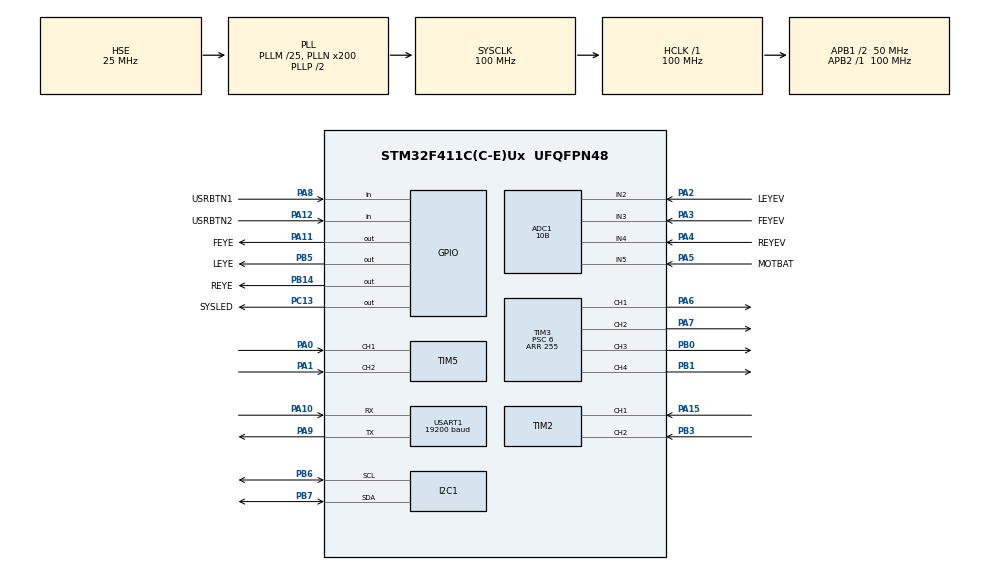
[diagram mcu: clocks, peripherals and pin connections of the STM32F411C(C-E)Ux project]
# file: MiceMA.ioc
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ADC1.Channel-1\#ChannelRegularConversion=ADC_CHANNEL_4
ADC1.NbrOfConversionFlag=1
ADC1.Rank-1\#ChannelRegularConversion=1
ADC1.Resolution=ADC_RESOLUTION_10B
ADC1.SamplingTime-1\#ChannelRegularConversion=ADC_SAMPLETIME_3CYCLES
ADC1.master=1
Mcu.Family=STM32F4
Mcu.Name=STM32F411C(C-E)Ux
Mcu.Package=UFQFPN48
NVIC.PriorityGroup=NVIC_PRIORITYGROUP_4
NVIC.TIM1_BRK_TIM9_IRQn=true\:0\:0\:false\:false\:true\:true\:true\:true
PA0-WKUP.Signal=S_TIM5_CH1
PA1.Signal=S_TIM5_CH2
PA10.Mode=Asynchronous
PA10.Signal=USART1_RX
PA11.GPIO_Label=FEYE
PA11.Signal=GPIO_Output
PA12.GPIO_Label=USRBTN2
PA12.GPIO_PuPd=GPIO_PULLUP
PA12.Signal=GPIO_Input
PA15.Signal=S_TIM2_CH1_ETR
PA2.GPIO_Label=LEYEV
PA2.Signal=ADCx_IN2
PA3.GPIO_Label=FEYEV
PA3.Signal=ADCx_IN3
PA4.GPIO_Label=REYEV
PA4.Signal=ADCx_IN4
PA5.GPIO_Label=MOTBAT
PA5.Signal=ADCx_IN5
PA6.Signal=S_TIM3_CH1
PA7.Signal=S_TIM3_CH2
PA8.GPIO_Label=USRBTN1
PA8.GPIO_PuPd=GPIO_PULLUP
PA8.Signal=GPIO_Input
PA9.Mode=Asynchronous
PA9.Signal=USART1_TX
PB0.Signal=S_TIM3_CH3
PB1.Signal=S_TIM3_CH4
PB14.GPIO_Label=REYE
PB14.Signal=GPIO_Output
PB3.Signal=S_TIM2_CH2
PB5.GPIO_Label=LEYE
PB5.Signal=GPIO_Output
PB6.Mode=I2C
PB6.Signal=I2C1_SCL
PB7.Mode=I2C
PB7.Signal=I2C1_SDA
PC13-ANTI_TAMP.GPIO_Label=SYSLED
PC13-ANTI_TAMP.Signal=GPIO_Output
PH0\ -\ OSC_IN.Mode=HSE-External-Oscillator
PH0\ -\ OSC_IN.Signal=RCC_OSC_IN
PH1\ -\ OSC_OUT.Mode=HSE-External-Oscillator
PH1\ -\ OSC_OUT.Signal=RCC_OSC_OUT
ProjectManager.HeapSize=0x200
ProjectManager.StackSize=0x400
ProjectManager.TargetToolchain=STM32CubeIDE
RCC.48MHZClocksFreq_Value=50000000
RCC.AHBFreq_Value=100000000
RCC.APB1CLKDivider=RCC_HCLK_DIV2
RCC.APB1Freq_Value=50000000
RCC.APB1TimFreq_Value=100000000
RCC.APB2Freq_Value=100000000
RCC.APB2TimFreq_Value=100000000
RCC.CortexFreq_Value=100000000
RCC.HCLKFreq_Value=100000000
RCC.HSE_VALUE=25000000
RCC.HSI_VALUE=16000000
RCC.LSE_VALUE=32768
RCC.PLLM=25
RCC.PLLN=200
RCC.PLLSourceVirtual=RCC_PLLSOURCE_HSE
RCC.SYSCLKFreq_VALUE=100000000
RCC.SYSCLKSource=RCC_SYSCLKSOURCE_PLLCLK
RCC.VCOOutputFreq_Value=200000000
SH.ADCx_IN2.0=ADC1_IN2,IN2
SH.ADCx_IN3.0=ADC1_IN3,IN3
SH.ADCx_IN4.0=ADC1_IN4,IN4
SH.ADCx_IN5.0=ADC1_IN5,IN5
SH.S_TIM2_CH1_ETR.0=TIM2_CH1,Encoder_Interface
SH.S_TIM2_CH2.0=TIM2_CH2,Encoder_Interface
SH.S_TIM3_CH1.0=TIM3_CH1,PWM Generation1 CH1
SH.S_TIM3_CH2.0=TIM3_CH2,PWM Generation2 CH2
SH.S_TIM3_CH3.0=TIM3_CH3,PWM Generation3 CH3
SH.S_TIM3_CH4.0=TIM3_CH4,PWM Generation4 CH4
SH.S_TIM5_CH1.0=TIM5_CH1,Encoder_Interface
SH.S_TIM5_CH2.0=TIM5_CH2,Encoder_Interface
TIM2.EncoderMode=TIM_ENCODERMODE_TI12
TIM3.Channel-PWM\ Generation1\ CH1=TIM_CHANNEL_1
TIM3.Channel-PWM\ Generation2\ CH2=TIM_CHANNEL_2
TIM3.Channel-PWM\ Generation3\ CH3=TIM_CHANNEL_3
TIM3.Channel-PWM\ Generation4\ CH4=TIM_CHANNEL_4
TIM3.Period=255
TIM3.Prescaler=6
TIM5.EncoderMode=TIM_ENCODERMODE_TI12
TIM9.Period=200
TIM9.Prescaler=1000
USART1.BaudRate=19200
USART1.VirtualMode=VM_ASYNC
VP_TIM9_VS_ClockSourceINT.Mode=Internal
board=custom

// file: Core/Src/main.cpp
/* USER CODE BEGIN Header */
/**
  ******************************************************************************
  * @file           : main.c
  * @brief          : Main program body
  ******************************************************************************
  * @attention
  *
  * Copyright (c) 2025 STMicroelectronics.
  * All rights reserved.
  *
  * This software is licensed under terms that can be found in the LICENSE file
  * in the root directory of this software component.
  * If no LICENSE file comes with this software, it is provided AS-IS.
  *
  ******************************************************************************
  */
/* USER CODE END Header */
#include "main.h"
#include "adc.h"
#include "i2c.h"
#include "tim.h"
#include "usart.h"
#include "gpio.h"

/* USER CODE BEGIN Includes */

#include <OneButton.h>

#include <Mouse.h>
#include <BrainConfig.h>
#include <BodyConfig.h>

#include <BabyMouse.h>
#include <YoungMouse.h>
#include <YoungAdultMouse.h>
#include <AdultMouse.h>
#include <OldMouse.h>

/* USER CODE END Includes */

/* USER CODE BEGIN PV */

Simulation mySimulation;

#if SIMULATION == 1
BabyMouse   BDavid ( &mySimulation );
YoungMouse  YDavid ( &mySimulation );
YoungAdultMouse   NDavid ( &mySimulation );
AdultMouse  ADavid ( &mySimulation );
OldMouse    ODavid ( &mySimulation );
#else
BabyMouse   BDavid ( NULL );
YoungMouse  YDavid ( NULL );
YoungAdultMouse    NDavid ( NULL );
AdultMouse  ADavid ( NULL );
OldMouse    ODavid ( NULL );
#endif

// Active mouse
//BabyMouse      *mice =  &BDavid;
//YoungMouse     *mice =  &YDavid;
AdultMouse     *mice =  &ADavid;
//OldMouse       *mice =  &ODavid;
//YoungAdultMouse  *mice =  &NDavid;

/* USER CODE END PV */

void SystemClock_Config(void);

/* USER CODE BEGIN 0 */
void click1() {

	ssd1306_clearScreen();
	ssd1306_printFixedN(0,16,"WALKING   ", STYLE_NORMAL, FONT_SIZE_2X);
#if SIMULATION == 1
	mice->WalkToGoal( );
#else
	mice->objBody.start_motor_controllers();
	mice->WalkToGoal( );
	mice->objBody.reset_motor_controllers();
#endif
	ssd1306_clearScreen();

} // click1

void click2() {

	ssd1306_clearScreen();
	ssd1306_printFixedN(0,16,"RUNNING   ", STYLE_NORMAL, FONT_SIZE_2X);
#if SIMULATION == 1
	mice->RunToGoal( );
#else
	mice->objBody.start_motor_controllers();
	mice->RunToGoal( );
	mice->objBody.reset_motor_controllers();
#endif
	ssd1306_clearScreen();

} // click2

/* USER CODE END 0 */

int main(void)
{

  /* MCU Configuration--------------------------------------------------------*/

  /* Reset of all peripherals, Initializes the Flash interface and the Systick. */
  HAL_Init();

  /* Configure the system clock */
  SystemClock_Config();

  /* Initialize all configured peripherals */
  MX_GPIO_Init();
  MX_ADC1_Init();
  MX_TIM2_Init();
  MX_TIM3_Init();
  MX_TIM5_Init();
  MX_TIM9_Init();
  MX_I2C1_Init();
  MX_USART1_UART_Init();
  /* USER CODE BEGIN 2 */
  cycleCounterInit();

  OneButton  button1, button2;

	ssd1306_setFixedFont(ssd1306xled_font6x8);
	ssd1306_128x64_i2c_init();
	ssd1306_clearScreen();

	button1.Init(USRBTN1_GPIO_Port, USRBTN1_Pin, true); //, true);
	button1.attachClick(click1);

	button2.Init(USRBTN2_GPIO_Port, USRBTN2_Pin, true); //, true);
	button2.attachClick(click2);

	mice->miceReset();

	/* USER CODE END 2 */

  /* Infinite loop */
  while (1)
  {

  	  button1.tick();
  	  button2.tick();

  	  mice->objBody.BodyDisplay();

	  HAL_GPIO_TogglePin(SYSLED_GPIO_Port, SYSLED_Pin);
	  HAL_Delay(500); //delay 100ms

  }
}

void SystemClock_Config(void)
{
  RCC_OscInitTypeDef RCC_OscInitStruct = {0};
  RCC_ClkInitTypeDef RCC_ClkInitStruct = {0};

  /** Configure the main internal regulator output voltage
  */
  __HAL_RCC_PWR_CLK_ENABLE();
  __HAL_PWR_VOLTAGESCALING_CONFIG(PWR_REGULATOR_VOLTAGE_SCALE1);

  /** Initializes the RCC Oscillators according to the specified parameters
  * in the RCC_OscInitTypeDef structure.
  */
  RCC_OscInitStruct.OscillatorType = RCC_OSCILLATORTYPE_HSE;
  RCC_OscInitStruct.HSEState = RCC_HSE_ON;
  RCC_OscInitStruct.PLL.PLLState = RCC_PLL_ON;
  RCC_OscInitStruct.PLL.PLLSource = RCC_PLLSOURCE_HSE;
  RCC_OscInitStruct.PLL.PLLM = 25;
  RCC_OscInitStruct.PLL.PLLN = 200;
  RCC_OscInitStruct.PLL.PLLP = RCC_PLLP_DIV2;
  RCC_OscInitStruct.PLL.PLLQ = 4;
  if (HAL_RCC_OscConfig(&RCC_OscInitStruct) != HAL_OK)
  {
    Error_Handler();
  }

  /** Initializes the CPU, AHB and APB buses clocks
  */
  RCC_ClkInitStruct.ClockType = RCC_CLOCKTYPE_HCLK|RCC_CLOCKTYPE_SYSCLK
                              |RCC_CLOCKTYPE_PCLK1|RCC_CLOCKTYPE_PCLK2;
  RCC_ClkInitStruct.SYSCLKSource = RCC_SYSCLKSOURCE_PLLCLK;
  RCC_ClkInitStruct.AHBCLKDivider = RCC_SYSCLK_DIV1;
  RCC_ClkInitStruct.APB1CLKDivider = RCC_HCLK_DIV2;
  RCC_ClkInitStruct.APB2CLKDivider = RCC_HCLK_DIV1;

  if (HAL_RCC_ClockConfig(&RCC_ClkInitStruct, FLASH_LATENCY_3) != HAL_OK)
  {
    Error_Handler();
  }
}

/* USER CODE BEGIN 4 */
// Callback: timer has rolled over
void HAL_TIM_PeriodElapsedCallback(TIM_HandleTypeDef *htim) {

	if (htim == &htim9) {
		mice->miceUpdate();
	}

}
/* USER CODE END 4 */

void Error_Handler(void)
{
  /* USER CODE BEGIN Error_Handler_Debug */
  /* User can add his own implementation to report the HAL error return state */
  __disable_irq();
  while (1)
  {
	   	HAL_GPIO_TogglePin(SYSLED_GPIO_Port, SYSLED_Pin);
	    HAL_Delay(200); //delay 200ms
  }
  /* USER CODE END Error_Handler_Debug */
}
